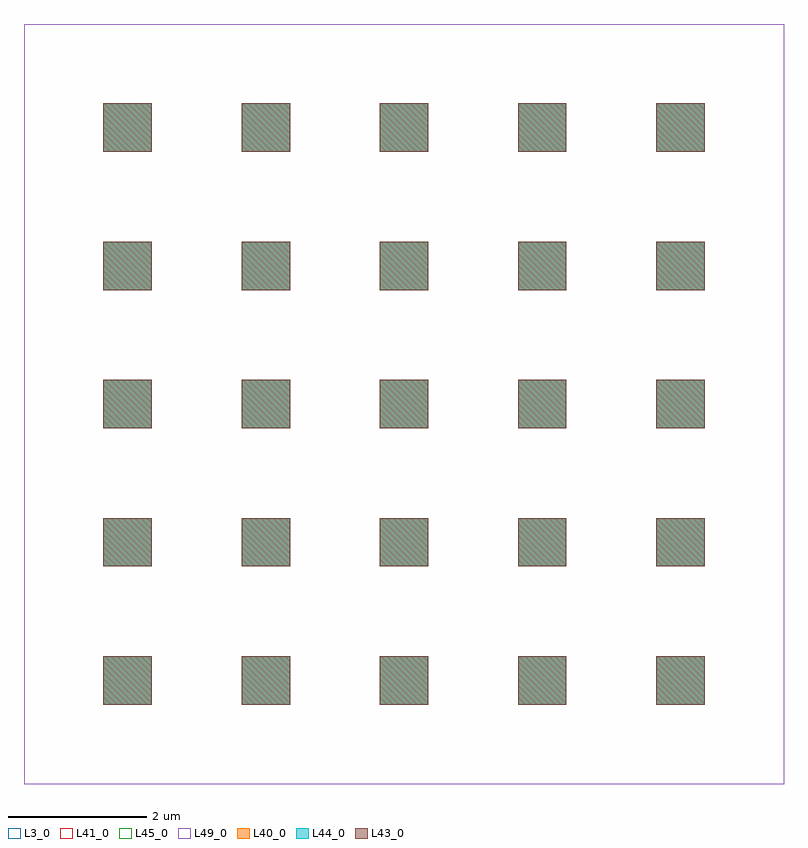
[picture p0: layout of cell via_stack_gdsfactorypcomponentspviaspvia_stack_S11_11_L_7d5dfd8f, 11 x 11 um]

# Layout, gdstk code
import gdstk
lib = gdstk.Library(unit=1e-6, precision=1e-09)
def R(c, l, rs):  # rectangles x0, y0, x1, y1
    for r in rs: c.add(gdstk.rectangle(r[:2], r[2:], *l))
L3_0 = (3, 0)
L40_0 = (40, 0)
L41_0 = (41, 0)
L43_0 = (43, 0)
L44_0 = (44, 0)
L45_0 = (45, 0)
L49_0 = (49, 0)

compass_gdsfactorypcompo = lib.new_cell('compass_gdsfactorypcomponentspshapespcompass_S11_11_LSL_b4ad9d31')
R(compass_gdsfactorypcompo, L3_0, [(-5.5,-5.5,5.5,5.5)])

c_compass_gdsfactorypcompo = lib.new_cell('compass_gdsfactorypcomponentspshapespcompass_S11_11_LM1_4b943683')
R(c_compass_gdsfactorypcompo, L41_0, [(-5.5,-5.5,5.5,5.5)])

c_compass_gdsfactorypcompo_ = lib.new_cell('compass_gdsfactorypcomponentspshapespcompass_S11_11_LM2_786eb8ce')
R(c_compass_gdsfactorypcompo_, L45_0, [(-5.5,-5.5,5.5,5.5)])

c_compass_gdsfactorypcompo__ = lib.new_cell('compass_gdsfactorypcomponentspshapespcompass_S11_11_LM3_4637d102')
R(c_compass_gdsfactorypcompo__, L49_0, [(-5.5,-5.5,5.5,5.5)])

via_gdsfactorypcomponent = lib.new_cell('via_gdsfactorypcomponentspviaspvia_S0p7_0p7_E1_LVIAC_BL_572539c8')
R(via_gdsfactorypcomponent, L40_0, [(-0.35,-0.35,0.35,0.35)])

c_via_gdsfactorypcomponent = lib.new_cell('via_gdsfactorypcomponentspviaspvia_S0p7_0p7_E1_LVIA1_BL_0068d91e')
R(c_via_gdsfactorypcomponent, L44_0, [(-0.35,-0.35,0.35,0.35)])

c_via_gdsfactorypcomponent_ = lib.new_cell('via_gdsfactorypcomponentspviaspvia_S0p7_0p7_E1_LVIA2_BL_c51b5ebb')
R(c_via_gdsfactorypcomponent_, L43_0, [(-0.35,-0.35,0.35,0.35)])

via_stack_gdsfactorypcom = lib.new_cell('via_stack_gdsfactorypcomponentspviaspvia_stack_S11_11_L_7d5dfd8f')
via_stack_gdsfactorypcom.add(gdstk.Reference(compass_gdsfactorypcompo, (0,0)))
via_stack_gdsfactorypcom.add(gdstk.Reference(c_compass_gdsfactorypcompo, (0,0)))
via_stack_gdsfactorypcom.add(gdstk.Reference(c_compass_gdsfactorypcompo_, (0,0)))
via_stack_gdsfactorypcom.add(gdstk.Reference(c_compass_gdsfactorypcompo__, (0,0)))
r = gdstk.Reference(via_gdsfactorypcomponent, (-4,-4)); r.repetition = gdstk.Repetition(5, 5, v1=(2,0), v2=(0,2)); via_stack_gdsfactorypcom.add(r)
r = gdstk.Reference(c_via_gdsfactorypcomponent, (-4,-4)); r.repetition = gdstk.Repetition(5, 5, v1=(2,0), v2=(0,2)); via_stack_gdsfactorypcom.add(r)
r = gdstk.Reference(c_via_gdsfactorypcomponent_, (-4,-4)); r.repetition = gdstk.Repetition(5, 5, v1=(2,0), v2=(0,2)); via_stack_gdsfactorypcom.add(r)

lib.write_gds('via_stack_gdsfactorypcomponentspviaspvia_stack_S11_11_L_7d5dfd8f.gds')
